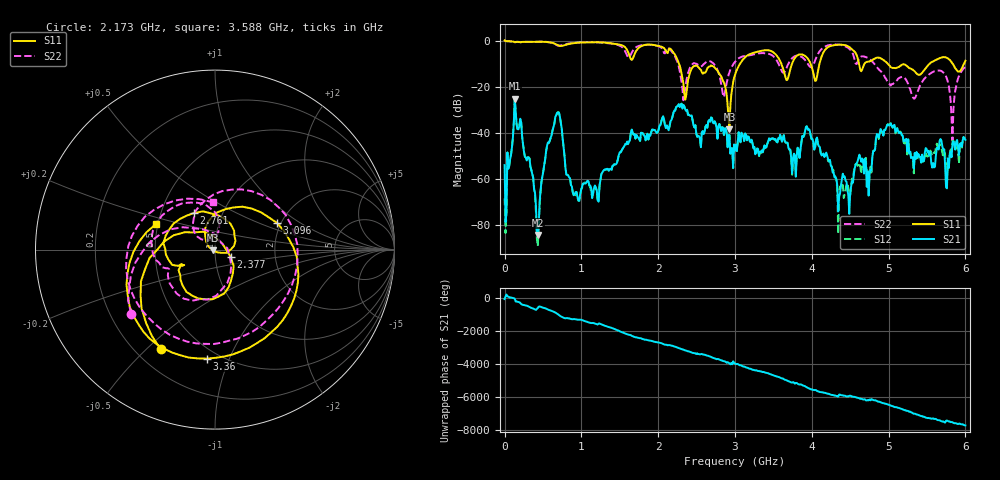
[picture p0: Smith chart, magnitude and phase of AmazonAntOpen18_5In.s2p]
# Hz S RI R 50
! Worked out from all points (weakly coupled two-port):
!   501 points, 1 MHz to 6 GHz, reference 50 ohm
!   highest |S21| = -25.08 dB at 133 MHz (marker M1); lowest = -84.1 dB at 432.9 MHz (marker M2)
!   lowest |S11| = -38.3 dB at 2.929 GHz (marker M3), VSWR 1.02, Z = 48.9 - j0.384 ohm
!   |S11| at or under -10 dB: 2.271 GHz to 3.065 GHz (794.6 MHz wide, 29.8 % of centre); 4.99 GHz to 5.534 GHz (543.8 MHz wide, 10.3 % of centre); 5.833 GHz to 5.982 GHz (148.4 MHz wide, 2.51 % of centre) (the widest 3 of 6)
!   |S22| runs from -43.2 to 0.0 dB; largest |S21 - S12| = 0.0031
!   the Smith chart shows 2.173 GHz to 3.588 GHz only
!   S11 on the Smith chart (normalised r, x): 2.173 GHz: 0.30, -0.55; 2.377 GHz: 1.19, -0.10; 2.761 GHz: 0.73, +0.31; 3.096 GHz: 1.90, +0.66; 3.36 GHz: 0.43, -0.83; 3.588 GHz: 0.49, +0.16
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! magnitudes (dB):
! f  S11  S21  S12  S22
! 1 MHz  0.1  -53.9  -68.3  0.0
! 133 MHz  -0.7  -25.1  -25.1  -0.7
! 432.9 MHz  -0.5  -84.1  -89.0  -0.5
! 684.9 MHz  -1.8  -31.3  -31.3  -2.0
! 888.9 MHz  -1.2  -65.7  -65.7  -1.0
! 1.009 GHz  -0.8  -63.4  -63.8  -0.7
! 2.005 GHz  -2.3  -38.8  -38.8  -2.5
! 2.173 GHz  -4.0  -34.4  -34.4  -4.6
! 2.377 GHz  -20.4  -29.9  -29.9  -15.8
! 2.761 GHz  -12.6  -37.7  -37.8  -11.7
! 2.929 GHz  -38.3  -40.9  -40.9  -13.7
! 3.001 GHz  -14.8  -47.5  -47.5  -9.2
! 3.096 GHz  -8.5  -40.6  -40.6  -6.9
! 3.36 GHz  -4.3  -48.4  -48.6  -5.4
! 3.588 GHz  -8.9  -40.7  -40.8  -11.5
! 4.008 GHz  -12.4  -42.5  -42.8  -11.2
! 4.488 GHz  -2.8  -75.0  -69.1  -3.5
! 5.004 GHz  -10.5  -36.7  -36.5  -18.6
! 5.688 GHz  -7.3  -43.3  -46.4  -13.1
! 5.76 GHz  -7.5  -63.9  -59.9  -16.5
! 5.832 GHz  -9.9  -44.8  -43.4  -43.2
! 6 GHz  -8.7  -42.9  -42.2  -11.6
